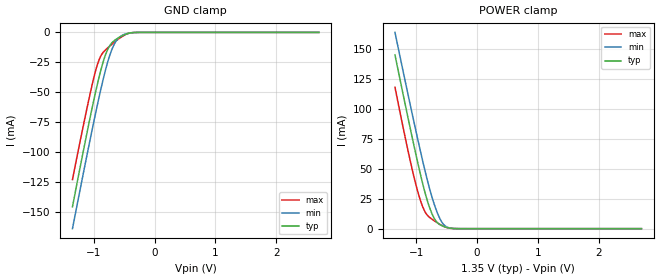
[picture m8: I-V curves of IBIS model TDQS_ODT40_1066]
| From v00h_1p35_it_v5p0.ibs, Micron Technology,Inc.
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| MODEL TDQS_ODT40_1066 (TDQS Terminator Model with 40ohm ODT, 800/1066Mbps)
[Model]   TDQS_ODT40_1066
Model_type   Terminator
|   typ   min   max
|C_comp   1.023pF   0.931pF   1.130pF
C_comp_power_clamp   0.5115pF   0.4655pF   0.5650pF
C_comp_gnd_clamp   0.5115pF   0.4655pF   0.5650pF
| Note: C_comp changes when the ODT circuit is enabled.
[Voltage Range]   1.3500V   1.2830V   1.4250V
| Junction Temperature (Ambient temp is 35C typ, 95C min, -40C max)
[Temperature Range]   50.0   110.0   -40.0
[Add Submodel]
| Submodel Name   Mode
40ohm_ODT_1066   Non-Driving
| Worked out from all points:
|   GND clamp passes 1 mA (typ) near -0.44 V on its own axis
|   POWER clamp passes 1 mA (typ) near -0.50 V on its own axis
[GND Clamp]
|   Voltage   I(typ)   I(min)   I(max)
-1.35V    -145.9mA   -164.2mA   -123.2mA
-1.085V   -77.39mA   -95.94mA   -57.13mA
-995mV    -55.65mA   -73.68mA   -37.08mA
-930mV    -41.04mA   -58.18mA   -25.36mA
-890mV    -32.79mA   -49mA      -20.33mA
-845mV    -24.55mA   -39.15mA   -16.71mA
-770mV    -14.21mA   -24.56mA   -12.93mA
-670mV    -7.162mA   -10.58mA   -8.571mA
-575mV    -3.962mA   -3.912mA   -4.851mA
-460mV    -1.301mA   -1.033mA   -1.415mA
-340mV    -133.3uA   -121.1uA   -79.23uA
2.7V      0A         0A         0A
[POWER Clamp]
|   Voltage   I(typ)   I(min)   I(max)
-1.35V    145mA      163.7mA    118mA
-1.2V     108mA      127.3mA    80.42mA
-1.07V    76.81mA    96.43mA    50.07mA
-985mV    57.15mA    76.71mA    32.7mA
-915mV    41.82mA    60.95mA    21.03mA
-830mV    25.33mA    42.85mA    11.96mA
-725mV    10.61mA    23.55mA    7.276mA
-675mV    6.297mA    16.06mA    5.562mA
-615mV    3.475mA    8.695mA    3.687mA
-525mV    1.394mA    2.274mA    1.436mA
-300mV    17.28uA    25.96uA    3.42uA
2.7V      0A         0A         0A
